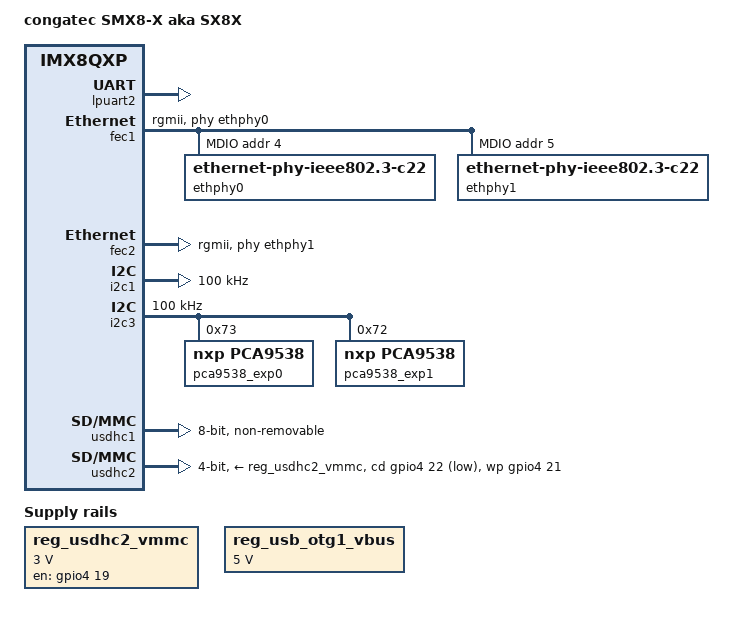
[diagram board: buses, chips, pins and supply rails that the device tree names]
/*
 * Copyright 2017-2018 NXP
 *
 * This program is free software; you can redistribute it and/or
 * modify it under the terms of the GNU General Public License
 * as published by the Free Software Foundation; either version 2
 * of the License, or (at your option) any later version.
 *
 * This program is distributed in the hope that it will be useful,
 * but WITHOUT ANY WARRANTY; without even the implied warranty of
 * MERCHANTABILITY or FITNESS FOR A PARTICULAR PURPOSE.	 See the
 * GNU General Public License for more details.
 */

/dts-v1/;

/* First 128KB is for PSCI ATF. */
/* Last 127M is for M4/RPMSG */
/memreserve/ 0x80000000 0x08000000;


#include "fsl-imx8qxp.dtsi"

/ {
	model = "congatec SMX8-X aka SX8X";
	compatible = "fsl,imx8qxp-cgtsx8x", "fsl,imx8qxp";

//	aliases {
//		/*
//		   u-boot uses the uclass seq number as bus number, see "i2c bus".
//		   The uclass seq number is usually derived from the node name.
//		   Is the node-name complex, like i2c0_cm40, the mapping will fail.
//		   A correct mapping could usually be achieved by setting an alias.
//		   BUT <struct imx_i2c_map imx_i2c_desc[]> defined at
//		   <arch/arm/include/asm/arch-imx8/i2c.h>
//		   creates a static mapping between uclass seq/bus number and SC
//		   resource. So "reordering" i.MX8 i2c busses by use of aliases,
//		   will usually break the access to the specific i2c busses.
//		   In case of <i2c0_cm40>, an alias i2c17 MUST be created to
//		   match the static mapping defined by <imx_i2c_desc[]>.
//		   Please note:
//		     The i2c node name / alias corresponds to the static mapping
//		     defined by <imx_i2c_desc[]>.
//		*/
//		i2c17 = &i2c0_cm40;
//	};

	chosen {
		bootargs = "console=ttyLP2,115200 earlycon=lpuart32,0x5a080000,115200";
		stdout-path = &lpuart2;
	};

	regulators {
		compatible = "simple-bus";
		#address-cells = <1>;
		#size-cells = <0>;

		reg_usdhc2_vmmc: usdhc2_vmmc {
			compatible = "regulator-fixed";
			regulator-name = "SD1_SPWR";
			regulator-min-microvolt = <3000000>;
			regulator-max-microvolt = <3000000>;
			gpio = <&gpio4 19 GPIO_ACTIVE_HIGH>;
			enable-active-high;
			startup-delay-us = <100>;
			/* at kernel DT, the property is called off-on-delay */
			//off-on-delay = <3480>;
			off-on-delay-us = <12000>;
		};

		reg_usb_otg1_vbus: regulator@0 {
			compatible = "regulator-fixed";
			reg = <0>;
			regulator-name = "usb_otg1_vbus";
			regulator-min-microvolt = <5000000>;
			regulator-max-microvolt = <5000000>;
			//gpio = <&pca9557_b 2 GPIO_ACTIVE_HIGH>;
			enable-active-high;
		};
	};
};

&iomuxc {
	pinctrl-names = "default";
	imx8qxp-cgtsx8x {

		/* lpuart0 -> SMARC edge connector -> SEVA C.0 X18 (SER0) */
		pinctrl_lpuart0: lpuart0grp {
			fsl,pins = <
				SC_P_UART0_RX_ADMA_UART0_RX	0x06000020
				SC_P_UART0_TX_ADMA_UART0_TX	0x06000020
				SC_P_FLEXCAN0_RX_ADMA_UART0_RTS_B	0x06000020
				SC_P_FLEXCAN0_TX_ADMA_UART0_CTS_B	0x06000020
			>;
		};

		pinctrl_lpuart2: lpuart2grp {
			fsl,pins = <
			       SC_P_UART2_RX_ADMA_UART2_RX     0x06000020
			       SC_P_UART2_TX_ADMA_UART2_TX     0x06000020
			>;
		};

		pinctrl_fec1: fec1grp {
			fsl,pins = <
				/*
				   Seems like, there are no such pads defined;
				   most-likely mek-specific
				 */
				//SC_P_COMP_CTL_GPIO_1V8_3V3_ENET_ENETB0_PAD	0x000014a0
				//SC_P_COMP_CTL_GPIO_1V8_3V3_ENET_ENETB1_PAD	0x000014a0

				SC_P_ENET0_MDC_CONN_ENET0_MDC			0x06000020
				SC_P_ENET0_MDIO_CONN_ENET0_MDIO			0x06000020
				SC_P_ENET0_RGMII_TX_CTL_CONN_ENET0_RGMII_TX_CTL	0x00000060
				SC_P_ENET0_RGMII_TXC_CONN_ENET0_RGMII_TXC	0x00000060
				SC_P_ENET0_RGMII_TXD0_CONN_ENET0_RGMII_TXD0	0x00000060
				SC_P_ENET0_RGMII_TXD1_CONN_ENET0_RGMII_TXD1	0x00000060
				SC_P_ENET0_RGMII_TXD2_CONN_ENET0_RGMII_TXD2	0x00000060
				SC_P_ENET0_RGMII_TXD3_CONN_ENET0_RGMII_TXD3	0x00000060
				SC_P_ENET0_RGMII_RXC_CONN_ENET0_RGMII_RXC	0x00000060
				SC_P_ENET0_RGMII_RX_CTL_CONN_ENET0_RGMII_RX_CTL	0x00000060
				SC_P_ENET0_RGMII_RXD0_CONN_ENET0_RGMII_RXD0	0x00000060
				SC_P_ENET0_RGMII_RXD1_CONN_ENET0_RGMII_RXD1	0x00000060
				SC_P_ENET0_RGMII_RXD2_CONN_ENET0_RGMII_RXD2	0x00000060
				SC_P_ENET0_RGMII_RXD3_CONN_ENET0_RGMII_RXD3	0x00000060
				SC_P_ENET0_REFCLK_125M_25M_CONN_ENET0_REFCLK_125M_25M	0x00000060
			>;
		};

		pinctrl_fec2: fec2grp {
			fsl,pins = <
				SC_P_ESAI0_SCKR_CONN_ENET1_RGMII_TX_CTL		0x00000060
				SC_P_ESAI0_FSR_CONN_ENET1_RGMII_TXC		0x00000060
				SC_P_ESAI0_TX4_RX1_CONN_ENET1_RGMII_TXD0	0x00000060
				SC_P_ESAI0_TX5_RX0_CONN_ENET1_RGMII_TXD1	0x00000060
				SC_P_ESAI0_FST_CONN_ENET1_RGMII_TXD2		0x00000060
				SC_P_ESAI0_SCKT_CONN_ENET1_RGMII_TXD3		0x00000060
				SC_P_ESAI0_TX0_CONN_ENET1_RGMII_RXC		0x00000060
				SC_P_SPDIF0_TX_CONN_ENET1_RGMII_RX_CTL		0x00000060
				SC_P_SPDIF0_RX_CONN_ENET1_RGMII_RXD0		0x00000060
				SC_P_ESAI0_TX3_RX2_CONN_ENET1_RGMII_RXD1	0x00000060
				SC_P_ESAI0_TX2_RX3_CONN_ENET1_RGMII_RXD2	0x00000060
				SC_P_ESAI0_TX1_CONN_ENET1_RGMII_RXD3		0x00000060
				SC_P_SPDIF0_EXT_CLK_CONN_ENET1_REFCLK_125M_25M	0x00000060
			>;
		};

		pinctrl_lpi2c0: i2c0grp {
			fsl,pins = <
				SC_P_SPI0_SCK_M40_I2C0_SCL  0x06000020
				SC_P_SPI0_SDO_M40_I2C0_SDA  0x06000020
			>;
		};

		pinctrl_lpi2c1: lpi1cgrp {
			fsl,pins = <
				SC_P_USB_SS3_TC1_ADMA_I2C1_SCL	0x06000020
				SC_P_USB_SS3_TC3_ADMA_I2C1_SDA	0x06000020
			>;
		};

		pinctrl_lpi2c3: lpi3cgrp {
			fsl,pins = <
				SC_P_CSI_EN_ADMA_I2C3_SCL     0x06000020
				SC_P_CSI_RESET_ADMA_I2C3_SDA  0x06000020
			>;
		};

		pinctrl_usdhc1: usdhc1grp {
			fsl,pins = <
				SC_P_EMMC0_CLK_CONN_EMMC0_CLK		0x06000041
				SC_P_EMMC0_CMD_CONN_EMMC0_CMD		0x00000021
				SC_P_EMMC0_DATA0_CONN_EMMC0_DATA0	0x00000021
				SC_P_EMMC0_DATA1_CONN_EMMC0_DATA1	0x00000021
				SC_P_EMMC0_DATA2_CONN_EMMC0_DATA2	0x00000021
				SC_P_EMMC0_DATA3_CONN_EMMC0_DATA3	0x00000021
				SC_P_EMMC0_DATA4_CONN_EMMC0_DATA4	0x00000021
				SC_P_EMMC0_DATA5_CONN_EMMC0_DATA5	0x00000021
				SC_P_EMMC0_DATA6_CONN_EMMC0_DATA6	0x00000021
				SC_P_EMMC0_DATA7_CONN_EMMC0_DATA7	0x00000021
				SC_P_EMMC0_STROBE_CONN_EMMC0_STROBE	0x06000041
			>;
		};

		pinctrl_usdhc1_100mhz: usdhc1grp100mhz {
			fsl,pins = <
				SC_P_EMMC0_CLK_CONN_EMMC0_CLK		0x06000040
				SC_P_EMMC0_CMD_CONN_EMMC0_CMD		0x00000020
				SC_P_EMMC0_DATA0_CONN_EMMC0_DATA0	0x00000020
				SC_P_EMMC0_DATA1_CONN_EMMC0_DATA1	0x00000020
				SC_P_EMMC0_DATA2_CONN_EMMC0_DATA2	0x00000020
				SC_P_EMMC0_DATA3_CONN_EMMC0_DATA3	0x00000020
				SC_P_EMMC0_DATA4_CONN_EMMC0_DATA4	0x00000020
				SC_P_EMMC0_DATA5_CONN_EMMC0_DATA5	0x00000020
				SC_P_EMMC0_DATA6_CONN_EMMC0_DATA6	0x00000020
				SC_P_EMMC0_DATA7_CONN_EMMC0_DATA7	0x00000020
				SC_P_EMMC0_STROBE_CONN_EMMC0_STROBE	0x06000040
			>;
		};

		pinctrl_usdhc1_200mhz: usdhc1grp200mhz {
			fsl,pins = <
				SC_P_EMMC0_CLK_CONN_EMMC0_CLK		0x06000040
				SC_P_EMMC0_CMD_CONN_EMMC0_CMD		0x00000020
				SC_P_EMMC0_DATA0_CONN_EMMC0_DATA0	0x00000020
				SC_P_EMMC0_DATA1_CONN_EMMC0_DATA1	0x00000020
				SC_P_EMMC0_DATA2_CONN_EMMC0_DATA2	0x00000020
				SC_P_EMMC0_DATA3_CONN_EMMC0_DATA3	0x00000020
				SC_P_EMMC0_DATA4_CONN_EMMC0_DATA4	0x00000020
				SC_P_EMMC0_DATA5_CONN_EMMC0_DATA5	0x00000020
				SC_P_EMMC0_DATA6_CONN_EMMC0_DATA6	0x00000020
				SC_P_EMMC0_DATA7_CONN_EMMC0_DATA7	0x00000020
				SC_P_EMMC0_STROBE_CONN_EMMC0_STROBE	0x06000040
			>;
		};

		pinctrl_usdhc2_gpio: usdhc2gpiogrp {
			fsl,pins = <
				SC_P_USDHC1_RESET_B_LSIO_GPIO4_IO19	0x06000021
				SC_P_USDHC1_WP_LSIO_GPIO4_IO21		0x06000021
				SC_P_USDHC1_CD_B_LSIO_GPIO4_IO22	0x06000021
			>;
		};

		pinctrl_usdhc2: usdhc2grp {
			fsl,pins = <
				SC_P_USDHC1_CLK_CONN_USDHC1_CLK		0x06000041
				SC_P_USDHC1_CMD_CONN_USDHC1_CMD		0x06000021
				SC_P_USDHC1_DATA0_CONN_USDHC1_DATA0	0x06000021
				SC_P_USDHC1_DATA1_CONN_USDHC1_DATA1	0x06000021
				SC_P_USDHC1_DATA2_CONN_USDHC1_DATA2	0x06000021
				SC_P_USDHC1_DATA3_CONN_USDHC1_DATA3	0x06000021
				SC_P_USDHC1_VSELECT_CONN_USDHC1_VSELECT	0x06000021
			>;
		};

		pinctrl_usdhc2_100mhz: usdhc2grp100mhz {
			fsl,pins = <
				SC_P_USDHC1_CLK_CONN_USDHC1_CLK		0x06000040
				SC_P_USDHC1_CMD_CONN_USDHC1_CMD		0x06000020
				SC_P_USDHC1_DATA0_CONN_USDHC1_DATA0	0x06000020
				SC_P_USDHC1_DATA1_CONN_USDHC1_DATA1	0x06000020
				SC_P_USDHC1_DATA2_CONN_USDHC1_DATA2	0x06000020
				SC_P_USDHC1_DATA3_CONN_USDHC1_DATA3	0x06000020
				SC_P_USDHC1_VSELECT_CONN_USDHC1_VSELECT	0x06000020
			>;
		};

		pinctrl_usdhc2_200mhz: usdhc2grp200mhz {
			fsl,pins = <
				SC_P_USDHC1_CLK_CONN_USDHC1_CLK		0x06000040
				SC_P_USDHC1_CMD_CONN_USDHC1_CMD		0x06000020
				SC_P_USDHC1_DATA0_CONN_USDHC1_DATA0	0x06000020
				SC_P_USDHC1_DATA1_CONN_USDHC1_DATA1	0x06000020
				SC_P_USDHC1_DATA2_CONN_USDHC1_DATA2	0x06000020
				SC_P_USDHC1_DATA3_CONN_USDHC1_DATA3	0x06000020
				SC_P_USDHC1_VSELECT_CONN_USDHC1_VSELECT	0x06000020
			>;
		};

		/* TBD -> qspi0B pins */

		pinctrl_flexspi0: flexspi0grp {
			fsl,pins = <
				SC_P_QSPI0A_DATA0_LSIO_QSPI0A_DATA0	0x0600004c
				SC_P_QSPI0A_DATA1_LSIO_QSPI0A_DATA1	0x0600004c
				SC_P_QSPI0A_DATA2_LSIO_QSPI0A_DATA2	0x0600004c
				SC_P_QSPI0A_DATA3_LSIO_QSPI0A_DATA3	0x0600004c
				SC_P_QSPI0A_DQS_LSIO_QSPI0A_DQS		0x0600004c
				SC_P_QSPI0A_SS0_B_LSIO_QSPI0A_SS0_B	0x0600004c
				SC_P_QSPI0A_SS1_B_LSIO_QSPI0A_SS1_B	0x0600004c
				SC_P_QSPI0A_SCLK_LSIO_QSPI0A_SCLK	0x0600004c
				SC_P_QSPI0B_SCLK_LSIO_QSPI0B_SCLK	0x0600004c
				SC_P_QSPI0B_DATA0_LSIO_QSPI0B_DATA0	0x0600004c
				SC_P_QSPI0B_DATA1_LSIO_QSPI0B_DATA1	0x0600004c
				SC_P_QSPI0B_DATA2_LSIO_QSPI0B_DATA2	0x0600004c
				SC_P_QSPI0B_DATA3_LSIO_QSPI0B_DATA3	0x0600004c
				SC_P_QSPI0B_DQS_LSIO_QSPI0B_DQS		0x0600004c
				SC_P_QSPI0B_SS0_B_LSIO_QSPI0B_SS0_B	0x0600004c
				SC_P_QSPI0B_SS1_B_LSIO_QSPI0B_SS1_B	0x0600004c
			>;
		};

		pinctrl_usbotg1: usbotg1 {
			fsl,pins = <
				SC_P_USB_SS3_TC0_CONN_USB_OTG1_PWR	0x00000021
				SC_P_USB_SS3_TC2_CONN_USB_OTG1_OC	0x00000021
				>;
		};

		/* XXX -> not assigned; not connected? */
		pinctrl_i2c0_mipi_lvds0: mipi_lvds0_i2c0_grp {
			fsl,pins = <
				SC_P_MIPI_DSI0_I2C0_SCL_MIPI_DSI0_I2C0_SCL 0xc6000020
				SC_P_MIPI_DSI0_I2C0_SDA_MIPI_DSI0_I2C0_SDA 0xc6000020
			>;
		};

		/* XXX -> not assigned; not connected? */
		pinctrl_i2c0_mipi_lvds1: mipi_lvds1_i2c0_grp {
			fsl,pins = <
				SC_P_MIPI_DSI1_I2C0_SCL_MIPI_DSI1_I2C0_SCL 0xc6000020
				SC_P_MIPI_DSI1_I2C0_SDA_MIPI_DSI1_I2C0_SDA 0xc6000020
			>;
		};
	};
};

&lpuart0 {
	pinctrl-names = "default";
	pinctrl-0 = <&pinctrl_lpuart0>;
};

&lpuart2 {
	pinctrl-names = "default";
	pinctrl-0 = <&pinctrl_lpuart2>;
	status = "okay";
};

&gpio0 {
	status = "okay";
};

&gpio1 {
	status = "okay";
};

&gpio3 {
	status = "okay";
};

&gpio4 {
	status = "okay";
};

&fec1 {
	pinctrl-names = "default";
	pinctrl-0 = <&pinctrl_fec1>;
	phy-mode = "rgmii";
	phy-handle = <&ethphy0>;
	fsl,ar8031-phy-fixup;
	fsl,magic-packet;
	status = "okay";

	mdio {
		#address-cells = <1>;
		#size-cells = <0>;

		ethphy0: ethernet-phy@0 {
			compatible = "ethernet-phy-ieee802.3-c22";
			/*
			   phy address is not read from DT, it's defined
			   by CONFIG_FEC0_MXC_PHYADDR at cgtsx8x.h
			 */
			reg = <4>;
		};

		ethphy1: ethernet-phy@1 {
			compatible = "ethernet-phy-ieee802.3-c22";
			/*
			   phy address is not read from DT, it's defined
			   by CONFIG_FEC1_MXC_PHYADDR at cgtsx8x.h
			 */
			reg = <5>;
		};
	};
};

&fec2 {
	pinctrl-names = "default";
	pinctrl-0 = <&pinctrl_fec2>;
	phy-mode = "rgmii";
	phy-handle = <&ethphy1>;
	fsl,ar8031-phy-fixup;
	fsl,magic-packet;
	status = "okay";
};

//&flexspi0 {
//	pinctrl-names = "default";
//	pinctrl-0 = <&pinctrl_flexspi0>;
//	status = "okay";
//
//	flash0: w25q64@0 {
//		#address-cells = <1>;
//		#size-cells = <1>;
//		compatible = "winbond,w25q64dw", "jedec,spi-nor";
//		spi-max-frequency = <20000000>;
//		reg = <0>;
//		//spi-nor,ddr-quad-read-dummy = <8>;
//
//		partition@0 {
//			label = "boot";
//			reg = <0x000000 0x400000>;
//		};
//
//		partition@400000 {
//			label = "failsafe";
//			reg = <0x400000 0x3e0000>;
//		};
//
//		partition@7e0000 {
//			label = "reserved";
//			reg = <0x7e0000 0x020000>;
//			read-only;
//		};
//	};
//};

//&i2c0_cm40 {
//	#address-cells = <1>;
//	#size-cells = <0>;
//	pinctrl-names = "default";
//	pinctrl-0 = <&pinctrl_lpi2c0>;
//	clock-frequency = <100000>;
//	status = "okay";
//
//	rtc_ext: m41t62@68 {
//		compatible = "st,m41t62";
//		reg = <0x68>;
//	};
//};

&i2c1 {
	#address-cells = <1>;
	#size-cells = <0>;
	clock-frequency = <100000>;
	pinctrl-names = "default";
	pinctrl-0 = <&pinctrl_lpi2c1>;
	/* available since Y.0 */
	status = "okay";
};

&i2c3 {
        compatible = "fsl,imx8qm-lpi2c", "fsl,imx-virt-i2c";
	#address-cells = <1>;
	#size-cells = <0>;
	pinctrl-names = "default";
	pinctrl-0 = <&pinctrl_lpi2c3>;
	clock-frequency = <100000>;
	status = "okay";

	pca9538_exp0: gpio@73 {
		compatible = "nxp,pca9538";
		reg = <0x73>;
		gpio-controller;
		#gpio-cells = <2>;
        };


        pca9538_exp1: gpio@72 {
		compatible = "nxp,pca9538";
		reg = <0x72>;
		gpio-controller;
		#gpio-cells = <2>;
	};

};

&usdhc1 {
	pinctrl-names = "default", "state_100mhz", "state_200mhz";
	pinctrl-0 = <&pinctrl_usdhc1>;
	pinctrl-1 = <&pinctrl_usdhc1_100mhz>;
	pinctrl-2 = <&pinctrl_usdhc1_200mhz>;
	bus-width = <8>;
	non-removable;
	status = "okay";
};

&usdhc2 {
	pinctrl-names = "default", "state_100mhz", "state_200mhz";
	pinctrl-0 = <&pinctrl_usdhc2>, <&pinctrl_usdhc2_gpio>;
	pinctrl-1 = <&pinctrl_usdhc2_100mhz>, <&pinctrl_usdhc2_gpio>;
	pinctrl-2 = <&pinctrl_usdhc2_200mhz>, <&pinctrl_usdhc2_gpio>;
	bus-width = <4>;
	cd-gpios = <&gpio4 22 GPIO_ACTIVE_LOW>;
	wp-gpios = <&gpio4 21 GPIO_ACTIVE_HIGH>;
	vmmc-supply = <&reg_usdhc2_vmmc>;
	/* disable/enable 1V8 mode */
	//no-1-8-v;
	status = "okay";
};

//&usbotg1 {
//	dr_mode = "otg";
//	pinctrl-names = "default";
//	pinctrl-0 = <&pinctrl_usbotg1>;
//	//vbus-supply = <&reg_usb_otg1_vbus>;
//	srp-disable;
//	hnp-disable;
//	adp-disable;
//	power-polarity-active-high;
//	disable-over-current;
//	status = "okay";
//};
//
//&usb2 {
//	status = "okay";
//};
